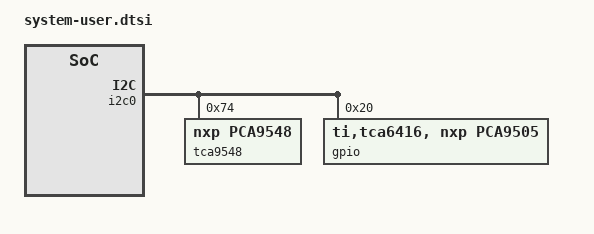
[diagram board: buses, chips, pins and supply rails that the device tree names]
/include/ "system-conf.dtsi"
/ {
};

&i2c0 { /* PMC_MIO46/47 */

        /* U33 TCA9548A switch */
        tca9548@74 {
                compatible = "nxp,pca9548";
                #pinctrl-names = "default";
                #address-cells = <0x1>;
                #size-cells = <0x0>;
                reg = <0x74>;
                #i2c-mux-idle-disconnect;
      };

      /* U233 TCA6416A GPIO Exander */
      gpio@20 {
                compatible = "ti,tca6416, nxp,pca9505";
                reg = <0x20>;
                pinctrl-names = "default";
                gpio-controller;
    };
    
};
